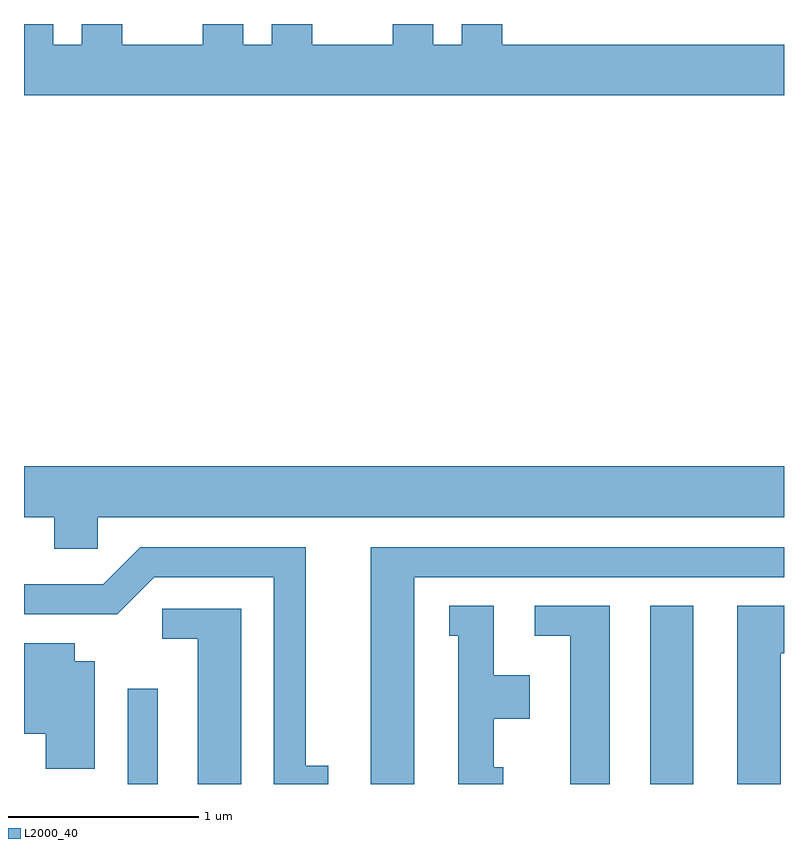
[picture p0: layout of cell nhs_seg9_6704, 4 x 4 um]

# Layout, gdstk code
import gdstk
lib = gdstk.Library(unit=1e-6, precision=1e-09)
def R(c, l, rs):  # rectangles x0, y0, x1, y1
    for r in rs: c.add(gdstk.rectangle(r[:2], r[2:], *l))
def P(c, l, *ps):  # polygons
    for p in ps: c.add(gdstk.Polygon(p, *l))
L2000_40 = (2000, 40)

nhs_seg9_6704 = lib.new_cell('nhs_seg9_6704')
R(nhs_seg9_6704, L2000_40, [(384.156,1970.432,384.314,1970.933), (386.906,1970.432,387.134,1971.369)])
P(nhs_seg9_6704, L2000_40, [(384.551,1974.432),(384.551,1974.324),(384.129,1974.324),(384.129,1974.432),(383.916,1974.432),(383.916,1974.324),(383.764,1974.324),(383.764,1974.432),(383.611,1974.432),(383.611,1974.056),(387.611,1974.056),(387.611,1974.324),(386.129,1974.324),(386.129,1974.432),(385.916,1974.432),(385.916,1974.324),(385.764,1974.324),(385.764,1974.432),(385.551,1974.432),(385.551,1974.324),(385.129,1974.324),(385.129,1974.432),(384.916,1974.432),(384.916,1974.324),(384.764,1974.324),(384.764,1974.432)],
  [(383.999,1971.836),(387.611,1971.836),(387.611,1972.104),(383.611,1972.104),(383.611,1971.836),(383.771,1971.836),(383.771,1971.671),(383.999,1971.671)],
  [(385.213,1970.529),(385.094,1970.529),(385.094,1971.679),(384.224,1971.679),(384.029,1971.484),(383.611,1971.484),(383.611,1971.326),(384.102,1971.326),(384.297,1971.521),(384.926,1971.521),(384.926,1970.432),(385.213,1970.432)],
  [(385.664,1971.521),(387.611,1971.521),(387.611,1971.679),(385.436,1971.679),(385.436,1970.432),(385.664,1970.432)],
  [(386.694,1971.369),(386.298,1971.369),(386.298,1971.211),(386.486,1971.211),(386.486,1970.432),(386.694,1970.432)],
  [(387.594,1971.121),(387.611,1971.121),(387.611,1971.369),(387.366,1971.369),(387.366,1970.432),(387.594,1970.432)],
  [(386.133,1970.519),(386.084,1970.519),(386.084,1970.776),(386.274,1970.776),(386.274,1971.004),(386.084,1971.004),(386.084,1971.369),(385.848,1971.369),(385.848,1971.211),(385.896,1971.211),(385.896,1970.432),(386.133,1970.432)],
  [(384.754,1971.354),(384.338,1971.354),(384.338,1971.196),(384.526,1971.196),(384.526,1970.432),(384.754,1970.432)],
  [(383.984,1971.079),(383.879,1971.079),(383.879,1971.174),(383.611,1971.174),(383.611,1970.696),(383.726,1970.696),(383.726,1970.511),(383.984,1970.511)])

lib.write_gds('nhs_seg9_6704.gds')
